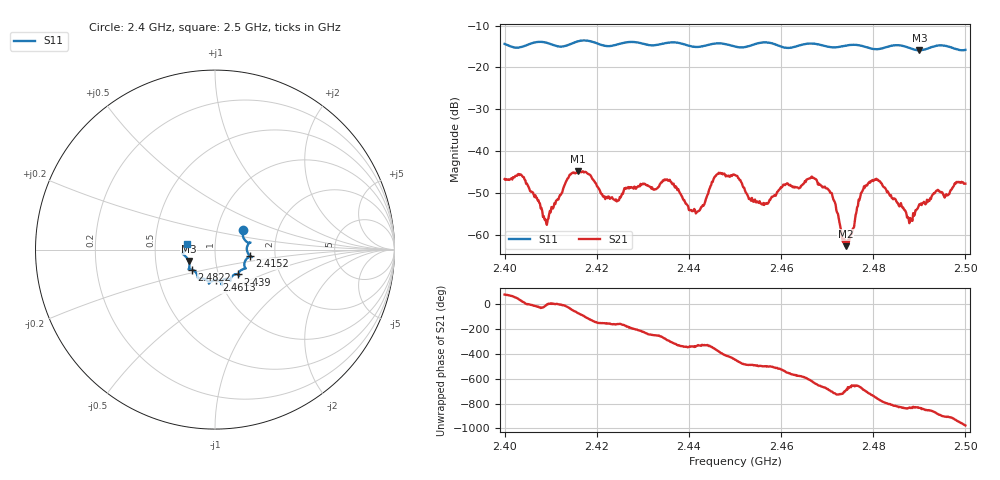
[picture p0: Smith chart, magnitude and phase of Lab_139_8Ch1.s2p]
# Hz S RI R 50
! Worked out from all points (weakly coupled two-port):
!   601 points, 2.4 GHz to 2.5 GHz, reference 50 ohm
!   highest |S21| = -44.83 dB at 2.4158 GHz (marker M1); lowest = -62.8 dB at 2.474 GHz (marker M2)
!   lowest |S11| = -15.9 dB at 2.49 GHz (marker M3), VSWR 1.38, Z = 36.9 - j4.83 ohm
!   |S11| at or under -10 dB: start of sweep to end of sweep
!   S12 and S22 are empty: the file has one direction only
!   S11 on the Smith chart (normalised r, x): 2.4 GHz: 1.33, +0.30; 2.4152 GHz: 1.48, -0.11; 2.439 GHz: 1.24, -0.35; 2.4613 GHz: 0.96, -0.34; 2.4822 GHz: 0.76, -0.17; 2.5 GHz: 0.73, +0.05
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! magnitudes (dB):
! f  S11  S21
! 2.4 GHz  -14.4  -46.7
! 2.4038 GHz  -15.1  -46.0
! 2.409 GHz  -14.1  -57.0
! 2.4152 GHz  -14.1  -45.2
! 2.4158 GHz  -13.8  -44.8
! 2.4167 GHz  -13.6  -45.1
! 2.4242 GHz  -14.6  -51.6
! 2.4333 GHz  -14.6  -48.7
! 2.439 GHz  -14.5  -51.8
! 2.442 GHz  -15.1  -54.4
! 2.45 GHz  -15.0  -45.8
! 2.456 GHz  -14.0  -52.8
! 2.4613 GHz  -15.3  -47.7
! 2.4667 GHz  -14.3  -46.1
! 2.4707 GHz  -15.2  -50.0
! 2.474 GHz  -14.8  -62.8
! 2.478 GHz  -15.0  -48.4
! 2.4822 GHz  -15.4  -48.5
! 2.4833 GHz  -15.0  -50.1
! 2.488 GHz  -15.4  -56.0
! 2.49 GHz  -15.9  -52.8
! 2.5 GHz  -15.8  -47.8
